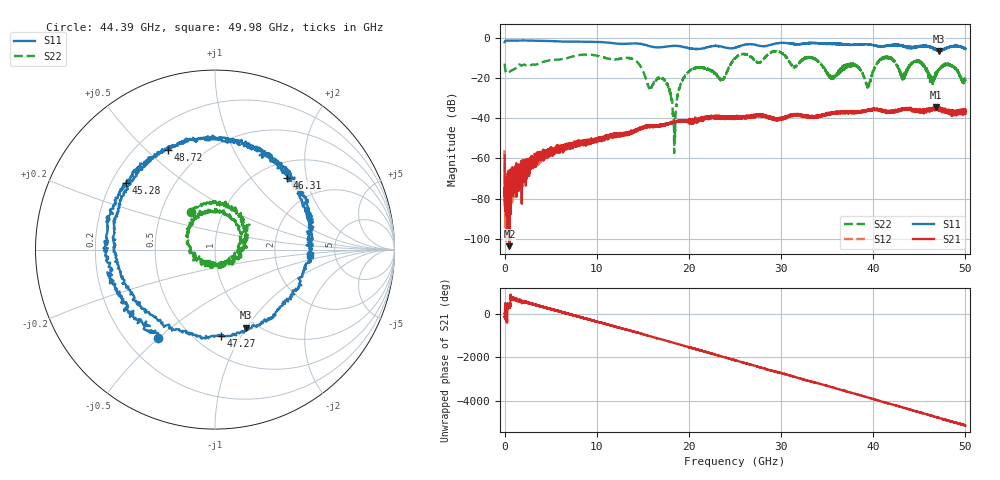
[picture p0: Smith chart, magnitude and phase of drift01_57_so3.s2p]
!Created with skrf (http://scikit-rf.org).
# Hz S RI R 50.0
!freq ReS11 ImS11 ReS21 ImS21 ReS12 ImS12 ReS22 ImS22
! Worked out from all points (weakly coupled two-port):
!   10001 points, 300 kHz to 50 GHz, reference 50 ohm
!   highest |S21| = -34.47 dB at 46.84 GHz (marker M1); lowest = -103.6 dB at 530.3 MHz (marker M2)
!   lowest |S11| = -6.6 dB at 47.15 GHz (marker M3), VSWR 2.76, Z = 44.8 - j49.9 ohm
!   |S11| at or under -10 dB: nowhere
!   |S22| runs from -57.3 to -6.7 dB; largest |S21 - S12| = 0.004
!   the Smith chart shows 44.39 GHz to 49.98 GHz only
!   S11 on the Smith chart (normalised r, x): 44.39 GHz: 0.33, -0.49; 45.28 GHz: 0.26, +0.31; 46.31 GHz: 1.31, +1.55; 47.27 GHz: 0.66, -0.82; 48.72 GHz: 0.33, +0.59; 49.98 GHz: 3.23, -0.26
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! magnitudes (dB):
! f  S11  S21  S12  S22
! 300 kHz  -2.2  -58.5  -56.0  -12.8
! 530.3 MHz  -1.5  -103.6  -66.6  -16.9
! 8.335 GHz  -1.9  -52.2  -51.8  -8.5
! 16.67 GHz  -4.8  -43.8  -43.7  -19.9
! 17.74 GHz  -4.3  -43.1  -42.9  -24.3
! 18.45 GHz  -4.0  -42.0  -41.9  -45.1
! 19.95 GHz  -5.1  -41.3  -41.4  -17.0
! 23.63 GHz  -4.5  -39.3  -39.5  -20.7
! 25 GHz  -5.0  -40.0  -39.5  -10.2
! 33.34 GHz  -2.6  -39.4  -39.2  -10.0
! 39.44 GHz  -3.3  -35.9  -36.1  -23.9
! 41.67 GHz  -3.9  -36.7  -36.6  -9.6
! 43.19 GHz  -4.1  -35.5  -35.6  -20.0
! 44.39 GHz  -4.6  -35.8  -36.1  -12.1
! 45.28 GHz  -4.1  -36.4  -36.4  -12.8
! 46.31 GHz  -4.9  -35.3  -35.5  -20.2
! 46.84 GHz  -5.9  -34.5  -35.0  -18.4
! 47.15 GHz  -6.6  -35.6  -35.2  -15.9
! 47.27 GHz  -6.4  -35.1  -35.3  -15.0
! 48.72 GHz  -4.2  -37.0  -37.5  -14.6
! 49.98 GHz  -5.5  -36.5  -36.4  -21.0
! 50 GHz  -5.5  -36.1  -36.6  -21.6
